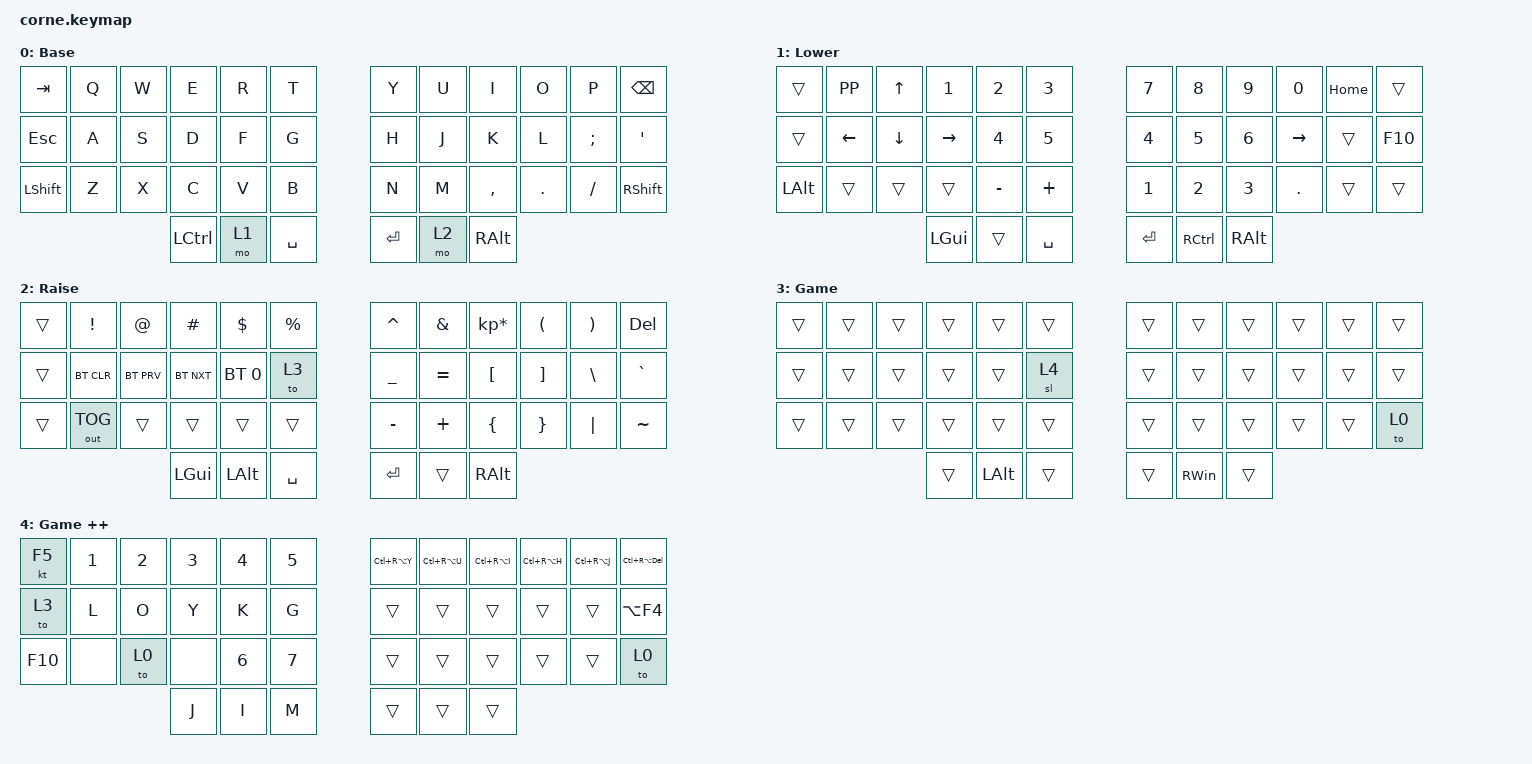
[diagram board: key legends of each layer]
/*
 * Copyright (c) 2020 The ZMK Contributors
 *
 * SPDX-License-Identifier: MIT
 */

#include <behaviors.dtsi>
#include <dt-bindings/zmk/keys.h>
#include <dt-bindings/zmk/bt.h>
#include <dt-bindings/zmk/outputs.h>
#include <dt-bindings/zmk/keys.h>

/ {
    macros {
    };

    keymap {
        compatible = "zmk,keymap";

        Base {
            // -----------------------------------------------------------------------------------------
            // |  TAB |  Q  |  W  |  E  |  R  |  T  |   |  Y  |  U   |  I  |  O  |  P  | BKSP |
            // | CTRL |  A  |  S  |  D  |  F  |  G  |   |  H  |  J   |  K  |  L  |  ;  |  '   |
            // | SHFT |  Z  |  X  |  C  |  V  |  B  |   |  N  |  M   |  ,  |  .  |  /  | ESC  |
            //                    | GUI | LWR | SPC |   | ENT | RSE  | ALT |

            label = "Base";
            bindings = <
   &kp TAB   &kp Q   &kp W      &kp E   &kp R      &kp T            &kp Y   &kp U      &kp I    &kp O     &kp P    &kp BSPC
   &kp ESC   &kp A   &kp S      &kp D   &kp F      &kp G            &kp H   &kp J      &kp K    &kp L  &kp SEMI    &kp APOS
 &kp LSHFT   &kp Z   &kp X      &kp C   &kp V      &kp B            &kp N   &kp M  &kp COMMA  &kp DOT  &kp FSLH  &kp RSHIFT
                            &kp LCTRL   &mo 1  &kp SPACE          &kp RET   &mo 2   &kp RALT
            >;
        };

        Lower {
            // -----------------------------------------------------------------------------------------
            // |  TAB |  1  |  2  |  3  |  4  |  5  |   |  6  |  7  |  8  |  9  |  0  | BKSP |
            // | BTCLR| BT1 | BT2 | BT3 | BT4 | BT5 |   | LFT | DWN |  UP | RGT |     |      |
            // | SHFT |     |     |     |     |     |   |     |     |     |     |     |      |
            //                    | GUI |     | SPC |   | ENT |     | ALT |

            label = "Lower";
            bindings = <
       &trans  &kp K_PP    &kp UP     &kp N1     &kp N2     &kp N3           &kp N7     &kp N8    &kp N9     &kp N0  &kp HOME   &trans
       &trans  &kp LEFT  &kp DOWN  &kp RIGHT     &kp N4     &kp N5           &kp N4     &kp N5    &kp N6  &kp RIGHT    &trans  &kp F10
 &kp LEFT_ALT    &trans    &trans     &trans  &kp MINUS   &kp PLUS           &kp N1     &kp N2    &kp N3    &kp DOT    &trans   &trans
                                    &kp LGUI     &trans  &kp SPACE          &kp RET  &kp RCTRL  &kp RALT
            >;
        };

        Raise {
            // -----------------------------------------------------------------------------------------
            // |  TAB |  !  |  @  |  #  |  $  |  %  |   |  ^  |  &  |  *  |  (  |  )  | BKSP |
            // | CTRL |     |     |     |     |     |   |  -  |  =  |  [  |  ]  |  \  |  `   |
            // | SHFT |     |     |     |     |     |   |  _  |  +  |  {  |  }  | "|" |  ~   |
            //                    | GUI |     | SPC |   | ENT |     | ALT |

            label = "Raise";
            bindings = <
 &trans      &kp EXCL      &kp AT    &kp HASH      &kp DLLR  &kp PRCNT          &kp CARET   &kp AMPS  &kp KP_MULTIPLY  &kp LPAR  &kp RPAR    &kp DEL
 &trans    &bt BT_CLR  &bt BT_PRV  &bt BT_NXT  &bt BT_SEL 0      &to 3          &kp UNDER  &kp EQUAL         &kp LBKT  &kp RBKT  &kp BSLH  &kp GRAVE
 &trans  &out OUT_TOG      &trans      &trans        &trans     &trans          &kp MINUS   &kp PLUS         &kp LBRC  &kp RBRC  &kp PIPE  &kp TILDE
                                     &kp LGUI  &kp LEFT_ALT  &kp SPACE            &kp RET     &trans         &kp RALT
            >;
        };

        Game {
            label = "Game";
            bindings = <
 &trans  &trans  &trans  &trans        &trans  &trans          &trans         &trans  &trans  &trans  &trans  &trans
 &trans  &trans  &trans  &trans        &trans   &sl 4          &trans         &trans  &trans  &trans  &trans  &trans
 &trans  &trans  &trans  &trans        &trans  &trans          &trans         &trans  &trans  &trans  &trans   &to 0
                         &trans  &kp LEFT_ALT  &trans          &trans  &kp RIGHT_WIN  &trans
            >;
        };

        Game_++ {
            label = "Game ++";
            bindings = <
  &kt F5  &kp NUMBER_1  &kp NUMBER_2  &kp NUMBER_3  &kp NUMBER_4  &kp NUMBER_5          &kp LC(RA(Y))  &kp LC(RA(U))  &kp LC(RA(I))  &kp LC(RA(H))  &kp LC(RA(J))  &kp LC(RA(DEL))
   &to 3         &kp L         &kp O         &kp Y         &kp K         &kp G                 &trans         &trans         &trans         &trans         &trans       &kp LA(F4)
 &kp F10         &none         &to 0         &none  &kp NUMBER_6  &kp NUMBER_7                 &trans         &trans         &trans         &trans         &trans            &to 0
                                             &kp J         &kp I         &kp M                 &trans         &trans         &trans
            >;
        };
    };
};

&nice_view_spi {
    cs-gpios = <&pro_micro 0 GPIO_ACTIVE_HIGH>;
};
